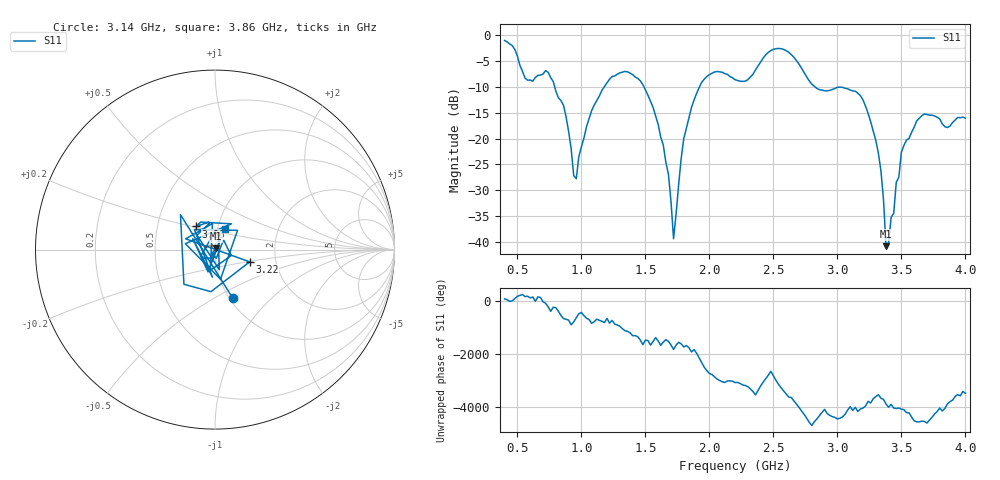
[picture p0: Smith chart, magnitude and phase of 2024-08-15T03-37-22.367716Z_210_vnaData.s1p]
!Created with skrf (http://scikit-rf.org).
# Hz S RI R 50.0
!freq ReS11 ImS11
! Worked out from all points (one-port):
!   181 points, 400 MHz to 4 GHz, reference 50 ohm
!   lowest |S11| = -40.8 dB at 3.38 GHz (marker M1), VSWR 1.02, Z = 50.5 + j0.776 ohm
!   |S11| at or under -10 dB: 791 MHz to 1.179 GHz (388.2 MHz wide, 39.4 % of centre); 1.488 GHz to 1.923 GHz (434.7 MHz wide, 25.5 % of centre); 2.824 GHz to end of sweep
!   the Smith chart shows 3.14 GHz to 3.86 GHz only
!   S11 on the Smith chart (normalised r, x): 3.14 GHz: 1.04, -0.61; 3.22 GHz: 1.46, -0.21; 3.66 GHz: 0.79, +0.21; 3.86 GHz: 1.08, +0.25
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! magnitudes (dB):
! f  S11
! 400 MHz  -1.1
! 580 MHz  -8.7
! 740 MHz  -7.2
! 860 MHz  -13.6
! 960 MHz  -27.7
! 1.08 GHz  -14.6
! 1.3 GHz  -7.3
! 1.56 GHz  -14.0
! 1.68 GHz  -26.9
! 1.72 GHz  -39.3
! 1.76 GHz  -28.8
! 1.8 GHz  -20.0
! 1.94 GHz  -9.1
! 2.2 GHz  -8.6
! 2.5 GHz  -2.8
! 2.66 GHz  -4.3
! 2.84 GHz  -10.3
! 3.1 GHz  -10.6
! 3.14 GHz  -10.9
! 3.22 GHz  -13.8
! 3.32 GHz  -22.8
! 3.36 GHz  -31.7
! 3.38 GHz  -40.8
! 3.5 GHz  -22.6
! 3.56 GHz  -20.0
! 3.66 GHz  -15.6
! 3.86 GHz  -17.9
! 4 GHz  -16.1
